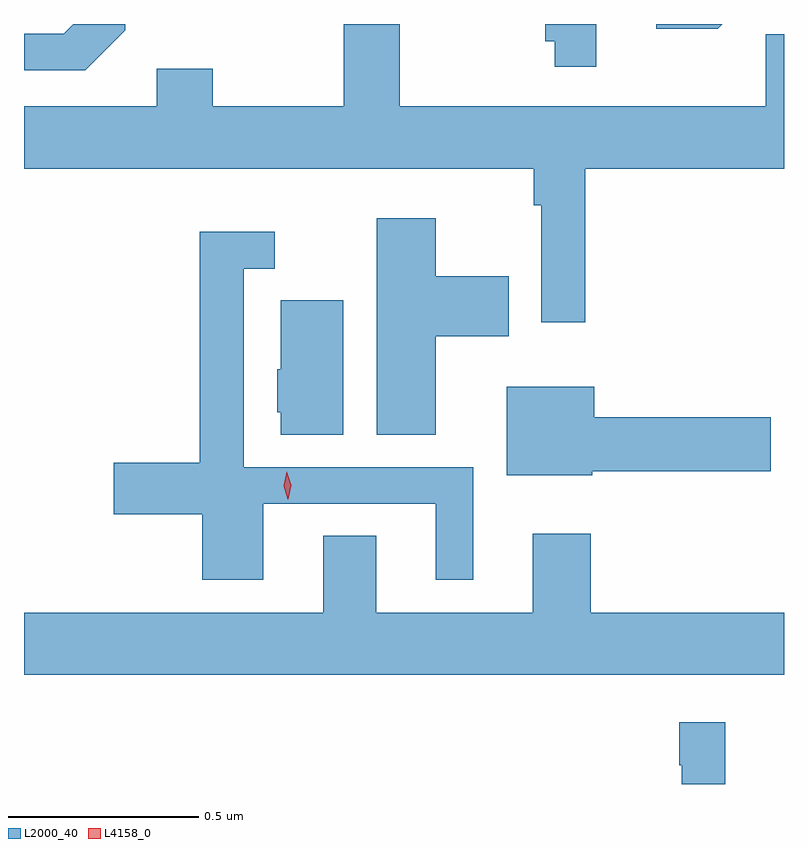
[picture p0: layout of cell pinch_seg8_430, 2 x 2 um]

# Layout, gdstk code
import gdstk
lib = gdstk.Library(unit=1e-6, precision=1e-09)
def P(c, l, *ps):  # polygons
    for p in ps: c.add(gdstk.Polygon(p, *l))
L2000_40 = (2000, 40)
L4158_0 = (4158, 0)

pinch_seg8_430 = lib.new_cell('pinch_seg8_430')
P(pinch_seg8_430, L2000_40, [(283.349,1132.484),(283.872,1132.484),(283.872,1132.838),(283.824,1132.838),(283.824,1132.648),(282.861,1132.648),(282.861,1132.865),(282.713,1132.865),(282.713,1132.648),(282.369,1132.648),(282.369,1132.747),(282.221,1132.747),(282.221,1132.648),(281.872,1132.648),(281.872,1132.484),(283.213,1132.484),(283.213,1132.388),(283.233,1132.388),(283.233,1132.08),(283.349,1132.08)],
  [(283.378,1132.865),(283.244,1132.865),(283.244,1132.82),(283.269,1132.82),(283.269,1132.752),(283.378,1132.752)],
  [(282.139,1132.849),(282.139,1132.865),(282.002,1132.865),(281.976,1132.839),(281.872,1132.839),(281.872,1132.743),(282.033,1132.743)],
  [(283.709,1132.865),(283.536,1132.865),(283.536,1132.853),(283.697,1132.853)],
  [(282.955,1132.043),(283.148,1132.043),(283.148,1132.201),(282.955,1132.201),(282.955,1132.354),(282.8,1132.354),(282.8,1131.784),(282.955,1131.784)],
  [(282.502,1131.603),(282.956,1131.603),(282.956,1131.402),(283.054,1131.402),(283.054,1131.699),(282.45,1131.699),(282.45,1132.221),(282.532,1132.221),(282.532,1132.318),(282.334,1132.318),(282.334,1131.71),(282.108,1131.71),(282.108,1131.575),(282.341,1131.575),(282.341,1131.402),(282.502,1131.402)],
  [(282.712,1132.138),(282.548,1132.138),(282.548,1131.957),(282.539,1131.957),(282.539,1131.843),(282.548,1131.843),(282.548,1131.784),(282.712,1131.784)],
  [(283.368,1131.688),(283.837,1131.688),(283.837,1131.83),(283.372,1131.83),(283.372,1131.91),(283.142,1131.91),(283.142,1131.677),(283.368,1131.677)],
  [(283.872,1131.316),(283.364,1131.316),(283.364,1131.523),(283.211,1131.523),(283.211,1131.316),(282.799,1131.316),(282.799,1131.518),(282.659,1131.518),(282.659,1131.316),(281.872,1131.316),(281.872,1131.152),(283.872,1131.152)],
  [(283.717,1131.028),(283.596,1131.028),(283.596,1130.915),(283.603,1130.915),(283.603,1130.865),(283.717,1130.865)])
P(pinch_seg8_430, L4158_0, [(282.566,1131.615),(282.566,1131.615),(282.555,1131.65),(282.563,1131.687),(282.564,1131.687),(282.564,1131.687),(282.575,1131.651),(282.567,1131.615)])

lib.write_gds('pinch_seg8_430.gds')
